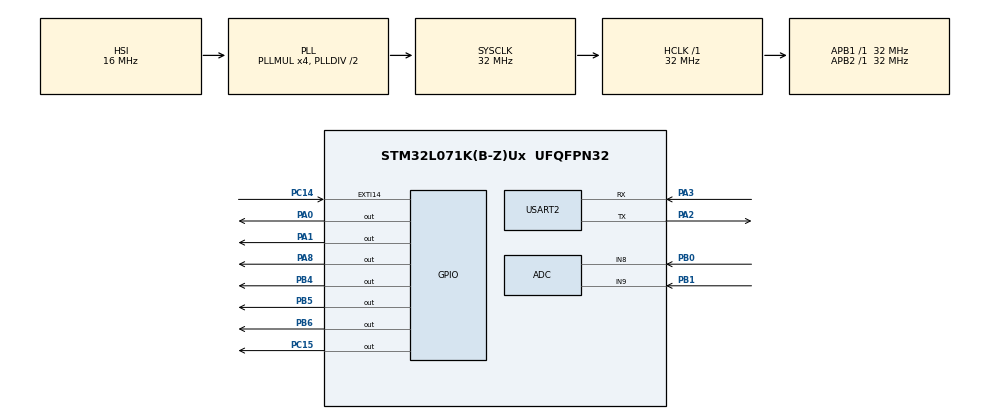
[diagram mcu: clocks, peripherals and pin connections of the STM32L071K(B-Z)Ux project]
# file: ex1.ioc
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ADC.DiscontinuousConvMode=ENABLE
Dma.MEMTOMEM.1.Direction=DMA_MEMORY_TO_MEMORY
Dma.MEMTOMEM.1.Instance=DMA1_Channel1
Dma.MEMTOMEM.1.MemDataAlignment=DMA_MDATAALIGN_BYTE
Dma.MEMTOMEM.1.MemInc=DMA_MINC_ENABLE
Dma.MEMTOMEM.1.Mode=DMA_NORMAL
Dma.MEMTOMEM.1.PeriphDataAlignment=DMA_PDATAALIGN_BYTE
Dma.MEMTOMEM.1.PeriphInc=DMA_PINC_ENABLE
Dma.MEMTOMEM.1.Priority=DMA_PRIORITY_LOW
Dma.Request0=USART2_RX
Dma.Request1=MEMTOMEM
Dma.USART2_RX.0.Direction=DMA_PERIPH_TO_MEMORY
Dma.USART2_RX.0.Instance=DMA1_Channel5
Dma.USART2_RX.0.MemDataAlignment=DMA_MDATAALIGN_HALFWORD
Dma.USART2_RX.0.MemInc=DMA_MINC_ENABLE
Dma.USART2_RX.0.Mode=DMA_CIRCULAR
Dma.USART2_RX.0.PeriphDataAlignment=DMA_PDATAALIGN_HALFWORD
Dma.USART2_RX.0.PeriphInc=DMA_PINC_DISABLE
Dma.USART2_RX.0.Priority=DMA_PRIORITY_LOW
Mcu.Family=STM32L0
Mcu.Name=STM32L071K(B-Z)Ux
Mcu.Package=UFQFPN32
NVIC.ADC1_COMP_IRQn=true\:0\:0\:false\:false\:true\:true\:true
NVIC.DMA1_Channel1_IRQn=true\:0\:0\:false\:false\:true\:true\:true
NVIC.DMA1_Channel4_5_6_7_IRQn=true\:0\:0\:false\:false\:true\:false\:true
NVIC.EXTI4_15_IRQn=true\:0\:0\:false\:false\:true\:true\:true
NVIC.TIM3_IRQn=true\:0\:0\:false\:false\:true\:true\:true
NVIC.TIM6_IRQn=true\:0\:0\:false\:false\:true\:true\:true
NVIC.USART2_IRQn=true\:0\:0\:false\:false\:true\:true\:true
PA0.Signal=GPIO_Output
PA1.Signal=GPIO_Output
PA13.Mode=Serial_Wire
PA13.Signal=SYS_SWDIO
PA14.Mode=Serial_Wire
PA14.Signal=SYS_SWCLK
PA2.Mode=Asynchronous
PA2.Signal=USART2_TX
PA3.Mode=Asynchronous
PA3.Signal=USART2_RX
PA8.Signal=GPIO_Output
PB0.Mode=IN8
PB0.Signal=ADC_IN8
PB1.Mode=IN9
PB1.Signal=ADC_IN9
PB4.Signal=GPIO_Output
PB5.Signal=GPIO_Output
PB6.Signal=GPIO_Output
PC14-OSC32_IN.Signal=GPXTI14
PC15-OSC32_OUT.Signal=GPIO_Output
ProjectManager.HeapSize=0x200
ProjectManager.StackSize=0x400
ProjectManager.TargetToolchain=MDK-ARM V5
RCC.AHBFreq_Value=32000000
RCC.APB1Freq_Value=32000000
RCC.APB1TimFreq_Value=32000000
RCC.APB2Freq_Value=32000000
RCC.APB2TimFreq_Value=32000000
RCC.HCLKFreq_Value=32000000
RCC.HSI16_VALUE=16000000
RCC.HSI_VALUE=16000000
RCC.LSE_VALUE=32768
RCC.MSI_VALUE=2097000
RCC.PLLMUL=RCC_PLLMUL_4
RCC.SYSCLKFreq_VALUE=32000000
RCC.SYSCLKSource=RCC_SYSCLKSOURCE_PLLCLK
RCC.VCOOutputFreq_Value=64000000
RTC.Format=RTC_FORMAT_BIN
RTC.SynchPrediv=307
TIM3.Period=999
TIM3.Prescaler=37
TIM6.Period=999
TIM6.Prescaler=31
USART2.VirtualMode-Asynchronous=VM_ASYNC
VP_CRC_VS_CRC.Mode=CRC_Activate
VP_RTC_VS_RTC_Activate.Mode=RTC_Enabled
VP_RTC_VS_RTC_Calendar.Mode=RTC_Calendar
VP_TIM3_VS_ClockSourceINT.Mode=Internal
VP_TIM6_VS_ClockSourceINT.Mode=Enable_Timer
board=custom

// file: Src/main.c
/* USER CODE BEGIN Header */
/**
  ******************************************************************************
  * @file           : main.c
  * @brief          : Main program body
  ******************************************************************************
  * @attention
  *
  * <h2><center>&copy; Copyright (c) 2019 STMicroelectronics.
  * All rights reserved.</center></h2>
  *
  * This software component is licensed by ST under BSD 3-Clause license,
  * the "License"; You may not use this file except in compliance with the
  * License. You may obtain a copy of the License at:
  *                        opensource.org/licenses/BSD-3-Clause
  *
  ******************************************************************************
  */
/* USER CODE END Header */

#include "main.h"
#include "adc.h"
#include "crc.h"
#include "dma.h"
#include "rtc.h"
#include "tim.h"
#include "usart.h"
#include "gpio.h"

/* USER CODE BEGIN PTD */
unsigned char send[50]="12346";
unsigned char reci[50];
/* USER CODE END PTD */

void SystemClock_Config(void);

/* USER CODE BEGIN 0 */
void Task_BrdInit(void)
{
    HAL_GPIO_WritePin(GPIOC, GPIO_PIN_15, GPIO_PIN_SET);

    OLED_PowerControl(ENABLE);

    HAL_Delay(200);
    OLED_Init();
    OLED_Clear();

    OLED_ShowString(0, 0, (unsigned char *)"                ", 16);
    OLED_ShowString(0, 2, (unsigned char *)"                ", 16);

}
/* USER CODE END 0 */

int main(void)
{
  /* USER CODE BEGIN 1 */
    char lcdLine_1st_line[16];
    char lcdLine_2st_line[16];

  /* USER CODE END 1 */

  /* MCU Configuration--------------------------------------------------------*/

  /* Reset of all peripherals, Initializes the Flash interface and the Systick. */
  HAL_Init();

  /* Configure the system clock */
  SystemClock_Config();

  /* Initialize all configured peripherals */
  MX_GPIO_Init();
  MX_DMA_Init();
  MX_ADC_Init();
  MX_CRC_Init();
  MX_USART2_UART_Init();
  MX_RTC_Init();
  MX_TIM3_Init();
  MX_TIM6_Init();
  /* USER CODE BEGIN 2 */
    Task_BrdInit();

		HAL_UART_Transmit(&huart2,send,sizeof(send),20);
		HAL_UART_Receive_DMA(&huart2,reci,sizeof(reci));
  /* USER CODE END 2 */

  /* Infinite loop */
    while (1)
    {

    /* USER CODE BEGIN 3 */
			sprintf(lcdLine_1st_line, "GXCT IOT       ");
			sprintf(lcdLine_2st_line, "Hello World    ");

//			HAL_UART_Receive_DMA(&huart2,reci,50);

			OLED_ShowString(0, 0, (unsigned char *)lcdLine_1st_line, 16);
			OLED_ShowString(0, 2, (unsigned char *)lcdLine_2st_line, 16);
//			if(reci[1]=='1')
//			{
//				HAL_GPIO_TogglePin(GPIOC, GPIO_PIN_15);
//			}
    }
  /* USER CODE END 3 */
}
/* USER CODE BEGIN 4 */
void HAL_UART_RxCpltCallback(UART_HandleTypeDef *huart)
{
	if(reci[1]=='1')
	{
		HAL_GPIO_TogglePin(GPIOC, GPIO_PIN_15);
	}
//	HAL_UART_DMAStop(&huart2);
	HAL_UART_Transmit(&huart2,reci,sizeof(reci),50);
}
/* USER CODE END 4 */
void SystemClock_Config(void)
{
  RCC_OscInitTypeDef RCC_OscInitStruct = {0};
  RCC_ClkInitTypeDef RCC_ClkInitStruct = {0};
  RCC_PeriphCLKInitTypeDef PeriphClkInit = {0};

  /** Configure the main internal regulator output voltage
  */
  __HAL_PWR_VOLTAGESCALING_CONFIG(PWR_REGULATOR_VOLTAGE_SCALE1);
  /** Initializes the CPU, AHB and APB busses clocks
  */
  RCC_OscInitStruct.OscillatorType = RCC_OSCILLATORTYPE_HSI|RCC_OSCILLATORTYPE_LSI;
  RCC_OscInitStruct.HSIState = RCC_HSI_ON;
  RCC_OscInitStruct.HSICalibrationValue = RCC_HSICALIBRATION_DEFAULT;
  RCC_OscInitStruct.LSIState = RCC_LSI_ON;
  RCC_OscInitStruct.PLL.PLLState = RCC_PLL_ON;
  RCC_OscInitStruct.PLL.PLLSource = RCC_PLLSOURCE_HSI;
  RCC_OscInitStruct.PLL.PLLMUL = RCC_PLLMUL_4;
  RCC_OscInitStruct.PLL.PLLDIV = RCC_PLLDIV_2;
  if (HAL_RCC_OscConfig(&RCC_OscInitStruct) != HAL_OK)
  {
    Error_Handler();
  }
  /** Initializes the CPU, AHB and APB busses clocks
  */
  RCC_ClkInitStruct.ClockType = RCC_CLOCKTYPE_HCLK|RCC_CLOCKTYPE_SYSCLK
                              |RCC_CLOCKTYPE_PCLK1|RCC_CLOCKTYPE_PCLK2;
  RCC_ClkInitStruct.SYSCLKSource = RCC_SYSCLKSOURCE_PLLCLK;
  RCC_ClkInitStruct.AHBCLKDivider = RCC_SYSCLK_DIV1;
  RCC_ClkInitStruct.APB1CLKDivider = RCC_HCLK_DIV1;
  RCC_ClkInitStruct.APB2CLKDivider = RCC_HCLK_DIV1;

  if (HAL_RCC_ClockConfig(&RCC_ClkInitStruct, FLASH_LATENCY_1) != HAL_OK)
  {
    Error_Handler();
  }
  PeriphClkInit.PeriphClockSelection = RCC_PERIPHCLK_USART2|RCC_PERIPHCLK_RTC;
  PeriphClkInit.Usart2ClockSelection = RCC_USART2CLKSOURCE_PCLK1;
  PeriphClkInit.RTCClockSelection = RCC_RTCCLKSOURCE_LSI;
  if (HAL_RCCEx_PeriphCLKConfig(&PeriphClkInit) != HAL_OK)
  {
    Error_Handler();
  }
}

void Error_Handler(void)
{
}

/************************ (C) COPYRIGHT STMicroelectronics *****END OF FILE****/
